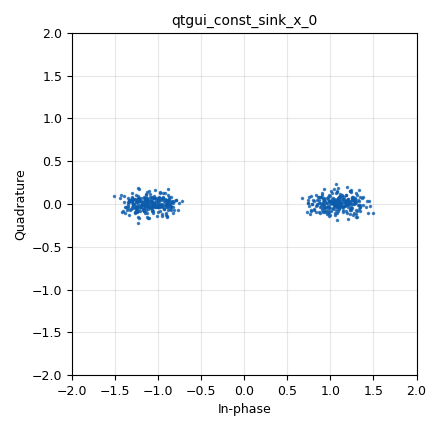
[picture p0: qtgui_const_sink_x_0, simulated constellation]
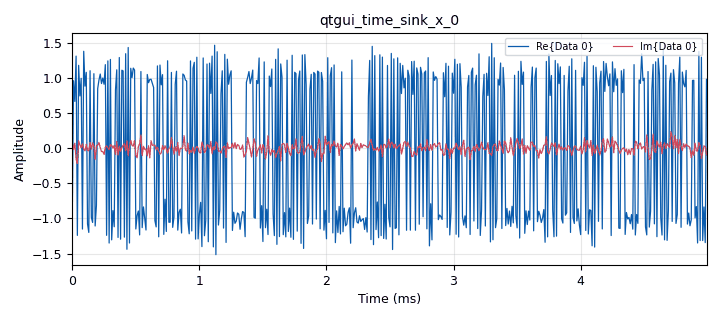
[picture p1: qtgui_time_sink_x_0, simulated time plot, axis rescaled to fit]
options:
  parameters:
    author: mdoallo
    generate_options: qt_gui
    id: bpsk
    output_language: python
    title: Not titled yet
  states: {}

blocks:
- name: samp_rate
  id: variable
  parameters:
    value: '100000'
  states: {}
- name: analog_noise_source_x_0
  id: analog_noise_source_x
  parameters:
    amp: '0.1'
    noise_type: analog.GR_GAUSSIAN
    seed: '0'
    type: complex
  states: {}
- name: analog_random_uniform_source_x_0
  id: analog_random_uniform_source_x
  parameters:
    maximum: '256'
    minimum: '0'
    seed: '0'
    type: byte
  states: {}
- name: blocks_add_xx_0
  id: blocks_add_xx
  parameters:
    type: complex
  states: {}
- name: blocks_throttle_0
  id: blocks_throttle
  parameters:
    samples_per_second: samp_rate
    type: byte
  states: {}
- name: digital_clock_recovery_mm_xx_0
  id: digital_clock_recovery_mm_xx
  parameters:
    gain_mu: '0.175'
    gain_omega: 0.25*0.175*0.175
    mu: '0.5'
    omega: '4'
    omega_relative_limit: '0.005'
    type: complex
  states: {}
- name: digital_costas_loop_cc_0
  id: digital_costas_loop_cc
  parameters:
    order: '2'
    w: '0.05'
  states: {}
- name: digital_psk_mod_0
  id: digital_psk_mod
  parameters:
    constellation_points: '2'
    differential: 'True'
    excess_bw: '0.35'
    mod_code: '"gray"'
    samples_per_symbol: '4'
  states: {}
- name: qtgui_const_sink_x_0
  id: qtgui_const_sink_x
  parameters:
    size: '500'
    type: complex
  states: {}
- name: qtgui_time_sink_x_0
  id: qtgui_time_sink_x
  parameters:
    ctrlpanel: 'True'
    size: '500'
    srate: samp_rate
    tr_mode: qtgui.TRIG_MODE_NORM
    type: complex
  states: {}

connections:
- [analog_noise_source_x_0, '0', blocks_add_xx_0, '0']
- [analog_random_uniform_source_x_0, '0', blocks_throttle_0, '0']
- [blocks_add_xx_0, '0', digital_costas_loop_cc_0, '0']
- [blocks_throttle_0, '0', digital_psk_mod_0, '0']
- [digital_clock_recovery_mm_xx_0, '0', qtgui_const_sink_x_0, '0']
- [digital_clock_recovery_mm_xx_0, '0', qtgui_time_sink_x_0, '0']
- [digital_costas_loop_cc_0, '0', digital_clock_recovery_mm_xx_0, '0']
- [digital_psk_mod_0, '0', blocks_add_xx_0, '1']

metadata:
  file_format: 1
